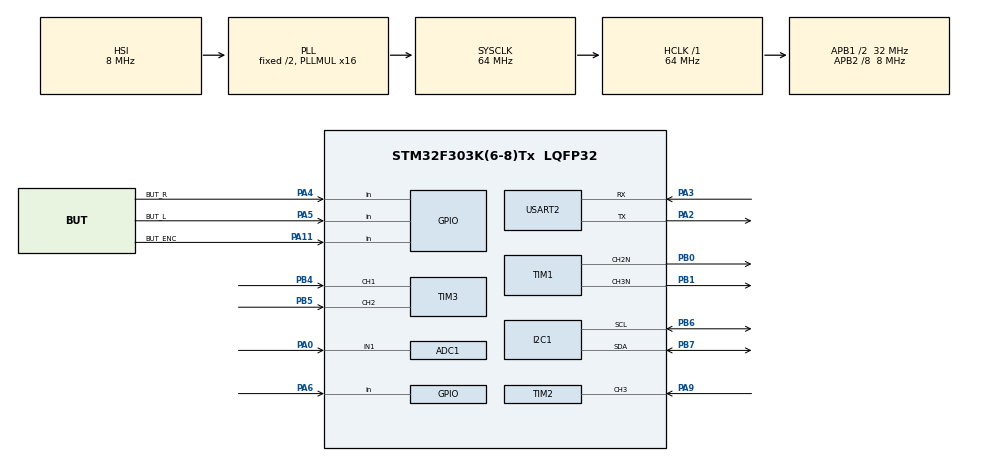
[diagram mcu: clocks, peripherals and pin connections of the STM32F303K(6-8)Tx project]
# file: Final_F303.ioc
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ADC1.Channel-0\#ChannelRegularConversion=ADC_CHANNEL_1
ADC1.NbrOfConversionFlag=1
ADC1.Offset-0\#ChannelRegularConversion=0
ADC1.OffsetNumber-0\#ChannelRegularConversion=ADC_OFFSET_NONE
ADC1.Rank-0\#ChannelRegularConversion=1
ADC1.SamplingTime-0\#ChannelRegularConversion=ADC_SAMPLETIME_1CYCLE_5
ADC1.SamplingTimeOPAMP-0\#ChannelRegularConversion=ADC_SAMPLETIME_61CYCLES_5
ADC1.SubFamily=STM32F303x8
ADC1.master=1
Dma.ADC1.0.Direction=DMA_PERIPH_TO_MEMORY
Dma.ADC1.0.Instance=DMA1_Channel1
Dma.ADC1.0.MemDataAlignment=DMA_MDATAALIGN_HALFWORD
Dma.ADC1.0.MemInc=DMA_MINC_ENABLE
Dma.ADC1.0.Mode=DMA_NORMAL
Dma.ADC1.0.PeriphDataAlignment=DMA_PDATAALIGN_HALFWORD
Dma.ADC1.0.PeriphInc=DMA_PINC_DISABLE
Dma.ADC1.0.Priority=DMA_PRIORITY_MEDIUM
Dma.Request0=ADC1
Mcu.Family=STM32F3
Mcu.Name=STM32F303K(6-8)Tx
Mcu.Package=LQFP32
NVIC.DMA1_Channel1_IRQn=true\:0\:0\:false\:false\:true\:false\:true
NVIC.PriorityGroup=NVIC_PRIORITYGROUP_4
NVIC.TIM2_IRQn=true\:0\:0\:false\:false\:true\:true\:true
PA0.Mode=IN1-Single-Ended
PA0.Signal=ADC1_IN1
PA11.GPIO_Label=BUT_ENC
PA11.GPIO_PuPd=GPIO_NOPULL
PA11.Signal=GPIO_Input
PA13.GPIO_Label=SWDIO
PA13.Mode=Serial_Wire
PA13.Signal=SYS_JTMS-SWDIO
PA14.GPIO_Label=SWCLK
PA14.Mode=Serial_Wire
PA14.Signal=SYS_JTCK-SWCLK
PA2.Mode=Asynchronous
PA2.Signal=USART2_TX
PA3.Mode=Asynchronous
PA3.Signal=USART2_RX
PA4.GPIO_Label=BUT_R
PA4.GPIO_PuPd=GPIO_PULLUP
PA4.Signal=GPIO_Input
PA5.GPIO_Label=BUT_L
PA5.GPIO_PuPd=GPIO_PULLUP
PA5.Signal=GPIO_Input
PA6.GPIO_PuPd=GPIO_PULLDOWN
PA6.Signal=GPIO_Input
PA9.Signal=S_TIM2_CH3
PB0.Mode=PWM Generation2 CH2N
PB0.Signal=TIM1_CH2N
PB1.Mode=PWM Generation3 CH3N
PB1.Signal=TIM1_CH3N
PB4.Signal=S_TIM3_CH1
PB5.Signal=S_TIM3_CH2
PB6.Mode=I2C
PB6.Signal=I2C1_SCL
PB7.Mode=I2C
PB7.Signal=I2C1_SDA
PF0\ /\ OSC_IN.GPIO_Label=MCO
PF0\ /\ OSC_IN.Mode=HSE-External-Oscillator
PF0\ /\ OSC_IN.Signal=RCC_OSC_IN
PF1\ /\ OSC_OUT.Mode=HSE-External-Oscillator
PF1\ /\ OSC_OUT.Signal=RCC_OSC_OUT
ProjectManager.HeapSize=0x200
ProjectManager.StackSize=0x400
ProjectManager.TargetToolchain=EWARM V8.32
RCC.AHBFreq_Value=64000000
RCC.APB1CLKDivider=RCC_HCLK_DIV2
RCC.APB1Freq_Value=32000000
RCC.APB1TimFreq_Value=64000000
RCC.APB2CLKDivider=RCC_HCLK_DIV8
RCC.APB2Freq_Value=8000000
RCC.APB2TimFreq_Value=16000000
RCC.CortexFreq_Value=64000000
RCC.HCLKFreq_Value=64000000
RCC.HSE_VALUE=8000000
RCC.HSI_VALUE=8000000
RCC.PLLMUL=RCC_PLL_MUL16
RCC.SYSCLKFreq_VALUE=64000000
RCC.SYSCLKSourceVirtual=RCC_SYSCLKSOURCE_PLLCLK
SH.S_TIM2_CH3.0=TIM2_CH3,Input_Capture3_from_TI3
SH.S_TIM3_CH1.0=TIM3_CH1,Encoder_Interface
SH.S_TIM3_CH2.0=TIM3_CH2,Encoder_Interface
TIM1.AutoReloadPreload=TIM_AUTORELOAD_PRELOAD_ENABLE
TIM1.Channel-PWM\ Generation2\ CH2N=TIM_CHANNEL_2
TIM1.Channel-PWM\ Generation3\ CH3N=TIM_CHANNEL_3
TIM2.AutoReloadPreload=TIM_AUTORELOAD_PRELOAD_ENABLE
TIM2.Channel-Input_Capture3_from_TI3=TIM_CHANNEL_3
TIM2.Period=65535
TIM3.AutoReloadPreload=TIM_AUTORELOAD_PRELOAD_ENABLE
TIM3.EncoderMode=TIM_ENCODERMODE_TI12
TIM3.IC1Prescaler=TIM_ICPSC_DIV4
TIM3.IC2Prescaler=TIM_ICPSC_DIV4
TIM3.TIM_MasterSlaveMode=TIM_MASTERSLAVEMODE_DISABLE
USART2.VirtualMode-Asynchronous=VM_ASYNC
VP_TIM1_VS_ClockSourceINT.Mode=Internal
VP_TIM2_VS_ClockSourceINT.Mode=Internal
VP_TIM6_VS_ClockSourceINT.Mode=Enable_Timer
board=NUCLEO-F303K8

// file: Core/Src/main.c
/* USER CODE BEGIN Header */
/**
  ******************************************************************************
  * @file           : main.c
  * @brief          : Main program body
  ******************************************************************************
  * @attention
  *
  * <h2><center>&copy; Copyright (c) 2021 STMicroelectronics.
  * All rights reserved.</center></h2>
  *
  * This software component is licensed by ST under BSD 3-Clause license,
  * the "License"; You may not use this file except in compliance with the
  * License. You may obtain a copy of the License at:
  *                        opensource.org/licenses/BSD-3-Clause
  *
  ******************************************************************************
  */
/* USER CODE END Header */
#include "main.h"

/* USER CODE BEGIN Includes */
#include "Project.h"
#include "Scheduler.h"
#include "Encoder.h"
#include "Buttons.h"
#include "fonts.h"
#include "ssd1306.h"
#include "test.h"
#include "bitmap.h"
#include "ux_manager.h"
#include "MotorController.h"
#include "RTC_manager.h"
#include "EEPROM_manager.h"
/* USER CODE END Includes */

/* USER CODE BEGIN PTD */
#define RTC_DEV_ADDRESS 0xDE
/* USER CODE END PTD */

ADC_HandleTypeDef hadc1;
DMA_HandleTypeDef hdma_adc1;

I2C_HandleTypeDef hi2c1;

TIM_HandleTypeDef htim1;
TIM_HandleTypeDef htim2;
TIM_HandleTypeDef htim3;
TIM_HandleTypeDef htim6;

UART_HandleTypeDef huart2;

/* USER CODE BEGIN PV */

Encoder encoder;
extern uint8_t ten_mS_Flag;
extern uint8_t twentyfive_mS_Flag;
extern uint8_t hundred_mS_Flag;
extern uint8_t one_S_Flag;

uint8_t twoHuundred_mS_Switch = false;
uint8_t two_S_Flag = false;

// Memory Stuff
linegraph_t moisturePlan = {
  {2,2,2,2,2,2,2,2,2,2,2,2,2,2,2,2,2,2,2,2,2,2,2,2},
  {' ',' ',' ',' '},
  "Set Moisture",
  15,
  16,
  0,
  true
};
uint8_t ROM_DEFAULT [24] = {2,2,2,2,2,2,2,2,2,2,2,2,2,2,2,2,2,2,2,2,2,2,2,2};
uint8_t writeDefaultROM = false;

uint8_t writeROM = false;
uint8_t readROM = false;
uint8_t dataRead [24];

// keyboard stuff
uint8_t buttonDebounced = false;
uint8_t buttonProcessed = false;
keyCode currKeyCode = BUT_NULL;

// ADC
uint32_t analogIn;
uint8_t currMoisture;

// Flow
volatile uint64_t flow = 0;
uint32_t IC_Value1 = 0;
uint32_t IC_Value2 = 0;
uint32_t Difference = 0;
uint32_t Frequency = 0;
uint8_t firstCapture = true;

// Motor
uint8_t runMotor = false;
uint16_t pulseALI = 0;
uint16_t pulseBLI = 0;

// RTC
uint8_t rtcDataIn[7] = {0};
uint8_t rtcDataOut[7] = {0};

uint8_t ramDataIn[0x20] = {0};
uint8_t ramDataOut[0x20] = {1,2,3};
uint8_t readRAM = false;
uint8_t writeRAM = false;
uint8_t readRTC = true;
uint8_t writeRTC = false;
uint8_t startRTC = false;
uint8_t setSQWV = false;
HAL_StatusTypeDef status;
uint8_t hour[2] = {0,0}; // [0] is current and [1] is prev
uint8_t hourChanged = false;
uint8_t writeHour = 0;

/* USER CODE END PV */

void SystemClock_Config(void);
static void MX_GPIO_Init(void);
static void MX_DMA_Init(void);
static void MX_I2C1_Init(void);
static void MX_TIM3_Init(void);
static void MX_ADC1_Init(void);
static void MX_TIM1_Init(void);
static void MX_USART2_UART_Init(void);
static void MX_TIM6_Init(void);
static void MX_TIM2_Init(void);
/* USER CODE BEGIN PFP */

uint8_t convertMoisture(uint32_t moistureIn);

/* USER CODE END PFP */

int main(void)
{

  /* MCU Configuration--------------------------------------------------------*/

  /* Reset of all peripherals, Initializes the Flash interface and the Systick. */
  HAL_Init();

  /* Configure the system clock */
  SystemClock_Config();

  /* Initialize all configured peripherals */
  MX_GPIO_Init();
  MX_DMA_Init();
  MX_I2C1_Init();
  MX_TIM3_Init();
  MX_ADC1_Init();
  MX_TIM1_Init();
  MX_USART2_UART_Init();
  MX_TIM6_Init();
  MX_TIM2_Init();
  /* USER CODE BEGIN 2 */

  // Encoder
  HAL_TIM_Encoder_Start(&htim3, TIM_CHANNEL_1);
  HAL_TIM_Encoder_Start(&htim3, TIM_CHANNEL_2);
  encoder.max = 32;
  ENC_Init(&encoder);

  // Motor
  motorInit(&htim1);

  // Display Init
  EEPROM_Read(moisturePlan.data);
  SSD1306_Init();  // initialise
  SSD1306_Clear();
  SSD1306_GotoXY (5,0);
  SSD1306_Puts ("Starting Up!", &Font_7x10, SSD1306_COLOR_WHITE);
  SSD1306_GotoXY (20,35);
  SSD1306_Puts ("LOADING", &Font_11x18, SSD1306_COLOR_WHITE);
  SSD1306_UpdateScreen();

  // Flow Meter
  HAL_TIM_Base_Start_IT(&htim2);
  HAL_TIM_IC_Start_IT(&htim2, TIM_CHANNEL_3);

  // RTC
  rtcStart();
  rtcVbatEnable();

  // Test Code
  setMotorSpeed(&htim1, 0, 10000);
  HAL_Delay (500);
  SwitchScreens(MAIN);
  setMotorSpeed(&htim1, 0, 0);

  /* USER CODE END 2 */

  /* Infinite loop */
  /* USER CODE BEGIN WHILE */
  while (1)
  {

    if(ten_mS_Flag){
      ten_mS_Flag = false;
      // ********************** Fast Update Values ********************** //
      ENC_Update(&encoder);
      HAL_ADC_Start_DMA(&hadc1, &analogIn, 1);
      currMoisture = convertMoisture(analogIn);
      if(encoder.direction){
        ProcessKeyCodeInContext(BUT_MOV, &encoder);
        two_S_Flag = false;
      }

    }

    if(twentyfive_mS_Flag){
      twentyfive_mS_Flag = false;

        if (currMoisture < moisturePlan.data[hour[0]]){
          setMotorSpeed(&htim1, 0, 40000);
        } else {
          stopMotor(&htim1);
          hourChanged = false;
        }

    }

    if(hundred_mS_Flag){
      hundred_mS_Flag = false;

      // ********************** Button Debouncing ********************** //
      currKeyCode = getKeyCode();
      if (currKeyCode) {
        if (buttonDebounced == true) {
          if (buttonProcessed == false) {
            buttonProcessed = ProcessKeyCodeInContext(currKeyCode, &encoder);
          }
        }
        else {
          buttonDebounced = true;
        }
      }
      else {
        buttonDebounced = false;
        buttonProcessed = false;
      }

      twoHuundred_mS_Switch ^= true;

      if (twoHuundred_mS_Switch == true) {
        UpdateScreenValues(currMoisture, Frequency);
      }

    }

    if(one_S_Flag){
      one_S_Flag = false;

      // ********************** MOTOR Debug ********************** //

      if (runMotor == true) {
        setMotorSpeed(&htim1, pulseBLI, pulseALI);
      } else {
        stopMotor(&htim1);
      }

      // ********************** RTC ********************** //
      if (readRTC == true) {
//        readRTC = false;
        status = rtcReadTime(rtcDataIn);
      }

      if (writeRTC == true) {
        writeRTC = false;
        status = rtcWriteTime(0,8,writeHour,2,29,6,21); // Calibrate time
      }

      if (startRTC == true) {
        startRTC = false;
        rtcStart();

      }

      // ********************** EEPROM ********************** //
      if (writeDefaultROM == true){
        writeDefaultROM = false;
        EEPROM_Write(ROM_DEFAULT);
      }
      if (readROM == true){
        readROM = false;
        EEPROM_Read(dataRead);
      }

      if (two_S_Flag) {
      // ***************** Encoder Wait Logic **************** //
        if(!encoder.direction){
          ProcessKeyCodeInContext(BUT_WAIT, &encoder);
        }
      }
      two_S_Flag ^= true;
    }

    /* USER CODE END WHILE */

  }
}

void SystemClock_Config(void)
{
  RCC_OscInitTypeDef RCC_OscInitStruct = {0};
  RCC_ClkInitTypeDef RCC_ClkInitStruct = {0};
  RCC_PeriphCLKInitTypeDef PeriphClkInit = {0};

  /** Initializes the RCC Oscillators according to the specified parameters
  * in the RCC_OscInitTypeDef structure.
  */
  RCC_OscInitStruct.OscillatorType = RCC_OSCILLATORTYPE_HSI;
  RCC_OscInitStruct.HSIState = RCC_HSI_ON;
  RCC_OscInitStruct.HSICalibrationValue = RCC_HSICALIBRATION_DEFAULT;
  RCC_OscInitStruct.PLL.PLLState = RCC_PLL_ON;
  RCC_OscInitStruct.PLL.PLLSource = RCC_PLLSOURCE_HSI;
  RCC_OscInitStruct.PLL.PLLMUL = RCC_PLL_MUL16;
  if (HAL_RCC_OscConfig(&RCC_OscInitStruct) != HAL_OK)
  {
    Error_Handler();
  }
  /** Initializes the CPU, AHB and APB buses clocks
  */
  RCC_ClkInitStruct.ClockType = RCC_CLOCKTYPE_HCLK|RCC_CLOCKTYPE_SYSCLK
                              |RCC_CLOCKTYPE_PCLK1|RCC_CLOCKTYPE_PCLK2;
  RCC_ClkInitStruct.SYSCLKSource = RCC_SYSCLKSOURCE_PLLCLK;
  RCC_ClkInitStruct.AHBCLKDivider = RCC_SYSCLK_DIV1;
  RCC_ClkInitStruct.APB1CLKDivider = RCC_HCLK_DIV2;
  RCC_ClkInitStruct.APB2CLKDivider = RCC_HCLK_DIV8;

  if (HAL_RCC_ClockConfig(&RCC_ClkInitStruct, FLASH_LATENCY_2) != HAL_OK)
  {
    Error_Handler();
  }
  PeriphClkInit.PeriphClockSelection = RCC_PERIPHCLK_I2C1|RCC_PERIPHCLK_TIM1
                              |RCC_PERIPHCLK_ADC12;
  PeriphClkInit.Adc12ClockSelection = RCC_ADC12PLLCLK_DIV1;
  PeriphClkInit.I2c1ClockSelection = RCC_I2C1CLKSOURCE_HSI;
  PeriphClkInit.Tim1ClockSelection = RCC_TIM1CLK_HCLK;
  if (HAL_RCCEx_PeriphCLKConfig(&PeriphClkInit) != HAL_OK)
  {
    Error_Handler();
  }
}

static void MX_ADC1_Init(void)
{

  ADC_MultiModeTypeDef multimode = {0};
  ADC_ChannelConfTypeDef sConfig = {0};

  /** Common config
  */
  hadc1.Instance = ADC1;
  hadc1.Init.ClockPrescaler = ADC_CLOCK_ASYNC_DIV1;
  hadc1.Init.Resolution = ADC_RESOLUTION_12B;
  hadc1.Init.ScanConvMode = ADC_SCAN_DISABLE;
  hadc1.Init.ContinuousConvMode = DISABLE;
  hadc1.Init.DiscontinuousConvMode = DISABLE;
  hadc1.Init.ExternalTrigConvEdge = ADC_EXTERNALTRIGCONVEDGE_NONE;
  hadc1.Init.ExternalTrigConv = ADC_SOFTWARE_START;
  hadc1.Init.DataAlign = ADC_DATAALIGN_RIGHT;
  hadc1.Init.NbrOfConversion = 1;
  hadc1.Init.DMAContinuousRequests = DISABLE;
  hadc1.Init.EOCSelection = ADC_EOC_SINGLE_CONV;
  hadc1.Init.LowPowerAutoWait = DISABLE;
  hadc1.Init.Overrun = ADC_OVR_DATA_OVERWRITTEN;
  if (HAL_ADC_Init(&hadc1) != HAL_OK)
  {
    Error_Handler();
  }
  /** Configure the ADC multi-mode
  */
  multimode.Mode = ADC_MODE_INDEPENDENT;
  if (HAL_ADCEx_MultiModeConfigChannel(&hadc1, &multimode) != HAL_OK)
  {
    Error_Handler();
  }
  /** Configure Regular Channel
  */
  sConfig.Channel = ADC_CHANNEL_1;
  sConfig.Rank = ADC_REGULAR_RANK_1;
  sConfig.SingleDiff = ADC_SINGLE_ENDED;
  sConfig.SamplingTime = ADC_SAMPLETIME_1CYCLE_5;
  sConfig.OffsetNumber = ADC_OFFSET_NONE;
  sConfig.Offset = 0;
  if (HAL_ADC_ConfigChannel(&hadc1, &sConfig) != HAL_OK)
  {
    Error_Handler();
  }

}

static void MX_I2C1_Init(void)
{

  hi2c1.Instance = I2C1;
  hi2c1.Init.Timing = 0x2000090E;
  hi2c1.Init.OwnAddress1 = 0;
  hi2c1.Init.AddressingMode = I2C_ADDRESSINGMODE_7BIT;
  hi2c1.Init.DualAddressMode = I2C_DUALADDRESS_DISABLE;
  hi2c1.Init.OwnAddress2 = 0;
  hi2c1.Init.OwnAddress2Masks = I2C_OA2_NOMASK;
  hi2c1.Init.GeneralCallMode = I2C_GENERALCALL_DISABLE;
  hi2c1.Init.NoStretchMode = I2C_NOSTRETCH_DISABLE;
  if (HAL_I2C_Init(&hi2c1) != HAL_OK)
  {
    Error_Handler();
  }
  /** Configure Analogue filter
  */
  if (HAL_I2CEx_ConfigAnalogFilter(&hi2c1, I2C_ANALOGFILTER_ENABLE) != HAL_OK)
  {
    Error_Handler();
  }
  /** Configure Digital filter
  */
  if (HAL_I2CEx_ConfigDigitalFilter(&hi2c1, 0) != HAL_OK)
  {
    Error_Handler();
  }

}

static void MX_TIM1_Init(void)
{

  TIM_ClockConfigTypeDef sClockSourceConfig = {0};
  TIM_MasterConfigTypeDef sMasterConfig = {0};
  TIM_OC_InitTypeDef sConfigOC = {0};
  TIM_BreakDeadTimeConfigTypeDef sBreakDeadTimeConfig = {0};

  htim1.Instance = TIM1;
  htim1.Init.Prescaler = 0;
  htim1.Init.CounterMode = TIM_COUNTERMODE_UP;
  htim1.Init.Period = 65535;
  htim1.Init.ClockDivision = TIM_CLOCKDIVISION_DIV1;
  htim1.Init.RepetitionCounter = 0;
  htim1.Init.AutoReloadPreload = TIM_AUTORELOAD_PRELOAD_ENABLE;
  if (HAL_TIM_Base_Init(&htim1) != HAL_OK)
  {
    Error_Handler();
  }
  sClockSourceConfig.ClockSource = TIM_CLOCKSOURCE_INTERNAL;
  if (HAL_TIM_ConfigClockSource(&htim1, &sClockSourceConfig) != HAL_OK)
  {
    Error_Handler();
  }
  if (HAL_TIM_PWM_Init(&htim1) != HAL_OK)
  {
    Error_Handler();
  }
  sMasterConfig.MasterOutputTrigger = TIM_TRGO_RESET;
  sMasterConfig.MasterOutputTrigger2 = TIM_TRGO2_RESET;
  sMasterConfig.MasterSlaveMode = TIM_MASTERSLAVEMODE_DISABLE;
  if (HAL_TIMEx_MasterConfigSynchronization(&htim1, &sMasterConfig) != HAL_OK)
  {
    Error_Handler();
  }
  sConfigOC.OCMode = TIM_OCMODE_PWM1;
  sConfigOC.Pulse = 0;
  sConfigOC.OCPolarity = TIM_OCPOLARITY_HIGH;
  sConfigOC.OCNPolarity = TIM_OCNPOLARITY_HIGH;
  sConfigOC.OCFastMode = TIM_OCFAST_DISABLE;
  sConfigOC.OCIdleState = TIM_OCIDLESTATE_RESET;
  sConfigOC.OCNIdleState = TIM_OCNIDLESTATE_RESET;
  if (HAL_TIM_PWM_ConfigChannel(&htim1, &sConfigOC, TIM_CHANNEL_2) != HAL_OK)
  {
    Error_Handler();
  }
  if (HAL_TIM_PWM_ConfigChannel(&htim1, &sConfigOC, TIM_CHANNEL_3) != HAL_OK)
  {
    Error_Handler();
  }
  sBreakDeadTimeConfig.OffStateRunMode = TIM_OSSR_DISABLE;
  sBreakDeadTimeConfig.OffStateIDLEMode = TIM_OSSI_DISABLE;
  sBreakDeadTimeConfig.LockLevel = TIM_LOCKLEVEL_OFF;
  sBreakDeadTimeConfig.DeadTime = 0;
  sBreakDeadTimeConfig.BreakState = TIM_BREAK_DISABLE;
  sBreakDeadTimeConfig.BreakPolarity = TIM_BREAKPOLARITY_HIGH;
  sBreakDeadTimeConfig.BreakFilter = 0;
  sBreakDeadTimeConfig.Break2State = TIM_BREAK2_DISABLE;
  sBreakDeadTimeConfig.Break2Polarity = TIM_BREAK2POLARITY_HIGH;
  sBreakDeadTimeConfig.Break2Filter = 0;
  sBreakDeadTimeConfig.AutomaticOutput = TIM_AUTOMATICOUTPUT_DISABLE;
  if (HAL_TIMEx_ConfigBreakDeadTime(&htim1, &sBreakDeadTimeConfig) != HAL_OK)
  {
    Error_Handler();
  }
  HAL_TIM_MspPostInit(&htim1);

}

static void MX_TIM2_Init(void)
{

  TIM_ClockConfigTypeDef sClockSourceConfig = {0};
  TIM_MasterConfigTypeDef sMasterConfig = {0};
  TIM_IC_InitTypeDef sConfigIC = {0};

  htim2.Instance = TIM2;
  htim2.Init.Prescaler = 0;
  htim2.Init.CounterMode = TIM_COUNTERMODE_UP;
  htim2.Init.Period = 65535;
  htim2.Init.ClockDivision = TIM_CLOCKDIVISION_DIV1;
  htim2.Init.AutoReloadPreload = TIM_AUTORELOAD_PRELOAD_ENABLE;
  if (HAL_TIM_Base_Init(&htim2) != HAL_OK)
  {
    Error_Handler();
  }
  sClockSourceConfig.ClockSource = TIM_CLOCKSOURCE_INTERNAL;
  if (HAL_TIM_ConfigClockSource(&htim2, &sClockSourceConfig) != HAL_OK)
  {
    Error_Handler();
  }
  if (HAL_TIM_IC_Init(&htim2) != HAL_OK)
  {
    Error_Handler();
  }
  sMasterConfig.MasterOutputTrigger = TIM_TRGO_RESET;
  sMasterConfig.MasterSlaveMode = TIM_MASTERSLAVEMODE_DISABLE;
  if (HAL_TIMEx_MasterConfigSynchronization(&htim2, &sMasterConfig) != HAL_OK)
  {
    Error_Handler();
  }
  sConfigIC.ICPolarity = TIM_INPUTCHANNELPOLARITY_RISING;
  sConfigIC.ICSelection = TIM_ICSELECTION_DIRECTTI;
  sConfigIC.ICPrescaler = TIM_ICPSC_DIV1;
  sConfigIC.ICFilter = 0;
  if (HAL_TIM_IC_ConfigChannel(&htim2, &sConfigIC, TIM_CHANNEL_3) != HAL_OK)
  {
    Error_Handler();
  }

}

static void MX_TIM3_Init(void)
{

  TIM_Encoder_InitTypeDef sConfig = {0};
  TIM_MasterConfigTypeDef sMasterConfig = {0};

  htim3.Instance = TIM3;
  htim3.Init.Prescaler = 0;
  htim3.Init.CounterMode = TIM_COUNTERMODE_UP;
  htim3.Init.Period = 65535;
  htim3.Init.ClockDivision = TIM_CLOCKDIVISION_DIV1;
  htim3.Init.AutoReloadPreload = TIM_AUTORELOAD_PRELOAD_ENABLE;
  sConfig.EncoderMode = TIM_ENCODERMODE_TI12;
  sConfig.IC1Polarity = TIM_ICPOLARITY_RISING;
  sConfig.IC1Selection = TIM_ICSELECTION_DIRECTTI;
  sConfig.IC1Prescaler = TIM_ICPSC_DIV4;
  sConfig.IC1Filter = 0;
  sConfig.IC2Polarity = TIM_ICPOLARITY_RISING;
  sConfig.IC2Selection = TIM_ICSELECTION_DIRECTTI;
  sConfig.IC2Prescaler = TIM_ICPSC_DIV4;
  sConfig.IC2Filter = 0;
  if (HAL_TIM_Encoder_Init(&htim3, &sConfig) != HAL_OK)
  {
    Error_Handler();
  }
  sMasterConfig.MasterOutputTrigger = TIM_TRGO_RESET;
  sMasterConfig.MasterSlaveMode = TIM_MASTERSLAVEMODE_DISABLE;
  if (HAL_TIMEx_MasterConfigSynchronization(&htim3, &sMasterConfig) != HAL_OK)
  {
    Error_Handler();
  }

}

static void MX_TIM6_Init(void)
{

  TIM_MasterConfigTypeDef sMasterConfig = {0};

  htim6.Instance = TIM6;
  htim6.Init.Prescaler = 0;
  htim6.Init.CounterMode = TIM_COUNTERMODE_UP;
  htim6.Init.Period = 65535;
  htim6.Init.AutoReloadPreload = TIM_AUTORELOAD_PRELOAD_DISABLE;
  if (HAL_TIM_Base_Init(&htim6) != HAL_OK)
  {
    Error_Handler();
  }
  sMasterConfig.MasterOutputTrigger = TIM_TRGO_RESET;
  sMasterConfig.MasterSlaveMode = TIM_MASTERSLAVEMODE_DISABLE;
  if (HAL_TIMEx_MasterConfigSynchronization(&htim6, &sMasterConfig) != HAL_OK)
  {
    Error_Handler();
  }

}

static void MX_USART2_UART_Init(void)
{

  huart2.Instance = USART2;
  huart2.Init.BaudRate = 38400;
  huart2.Init.WordLength = UART_WORDLENGTH_8B;
  huart2.Init.StopBits = UART_STOPBITS_1;
  huart2.Init.Parity = UART_PARITY_NONE;
  huart2.Init.Mode = UART_MODE_TX_RX;
  huart2.Init.HwFlowCtl = UART_HWCONTROL_NONE;
  huart2.Init.OverSampling = UART_OVERSAMPLING_16;
  huart2.Init.OneBitSampling = UART_ONE_BIT_SAMPLE_DISABLE;
  huart2.AdvancedInit.AdvFeatureInit = UART_ADVFEATURE_NO_INIT;
  if (HAL_UART_Init(&huart2) != HAL_OK)
  {
    Error_Handler();
  }

}

static void MX_DMA_Init(void)
{

  /* DMA controller clock enable */
  __HAL_RCC_DMA1_CLK_ENABLE();

  /* DMA interrupt init */
  /* DMA1_Channel1_IRQn interrupt configuration */
  HAL_NVIC_SetPriority(DMA1_Channel1_IRQn, 0, 0);
  HAL_NVIC_EnableIRQ(DMA1_Channel1_IRQn);

}

static void MX_GPIO_Init(void)
{
  GPIO_InitTypeDef GPIO_InitStruct = {0};

  /* GPIO Ports Clock Enable */
  __HAL_RCC_GPIOF_CLK_ENABLE();
  __HAL_RCC_GPIOA_CLK_ENABLE();
  __HAL_RCC_GPIOB_CLK_ENABLE();

  /*Configure GPIO pins : BUT_R_Pin BUT_L_Pin */
  GPIO_InitStruct.Pin = BUT_R_Pin|BUT_L_Pin;
  GPIO_InitStruct.Mode = GPIO_MODE_INPUT;
  GPIO_InitStruct.Pull = GPIO_PULLUP;
  HAL_GPIO_Init(GPIOA, &GPIO_InitStruct);

  /*Configure GPIO pin : PA6 */
  GPIO_InitStruct.Pin = GPIO_PIN_6;
  GPIO_InitStruct.Mode = GPIO_MODE_INPUT;
  GPIO_InitStruct.Pull = GPIO_PULLDOWN;
  HAL_GPIO_Init(GPIOA, &GPIO_InitStruct);

  /*Configure GPIO pin : BUT_ENC_Pin */
  GPIO_InitStruct.Pin = BUT_ENC_Pin;
  GPIO_InitStruct.Mode = GPIO_MODE_INPUT;
  GPIO_InitStruct.Pull = GPIO_NOPULL;
  HAL_GPIO_Init(BUT_ENC_GPIO_Port, &GPIO_InitStruct);

}

/* USER CODE BEGIN 4 */
void HAL_TIM_IC_CaptureCallback(TIM_HandleTypeDef* htim){
  if (htim->Channel == HAL_TIM_ACTIVE_CHANNEL_3){
    if(firstCapture == true){
      IC_Value1 = HAL_TIM_ReadCapturedValue(htim, TIM_CHANNEL_3);
      firstCapture = false;
    } else {
      IC_Value2 = HAL_TIM_ReadCapturedValue(htim, TIM_CHANNEL_3);  // capture second value

      if (IC_Value2 > IC_Value1)
      {
        Difference = IC_Value2-IC_Value1;   // calculate the difference
      }

      else if (IC_Value2 < IC_Value1)
      {
        Difference = ((0xffff-IC_Value1)+IC_Value2) +1;
      }

      else
      {
        Error_Handler();
      }

      Frequency = HAL_RCC_GetPCLK1Freq()/Difference;  // calculate frequency
      firstCapture = true;  // reset the first
    }
  }
}

uint8_t convertMoisture(uint32_t moistureIn){
  // 2500 - Air - 5
  // 1500 - Watery Soil - 30
  uint32_t tmp ;
  tmp = (moistureIn * 4) / 125;
  tmp = (tmp > 254) ? 254:tmp;
  return (uint8_t) (80 - tmp);

}

/* USER CODE END 4 */

void Error_Handler(void)
{
  __disable_irq();
  while (1)
  {
  }
}

/************************ (C) COPYRIGHT STMicroelectronics *****END OF FILE****/
